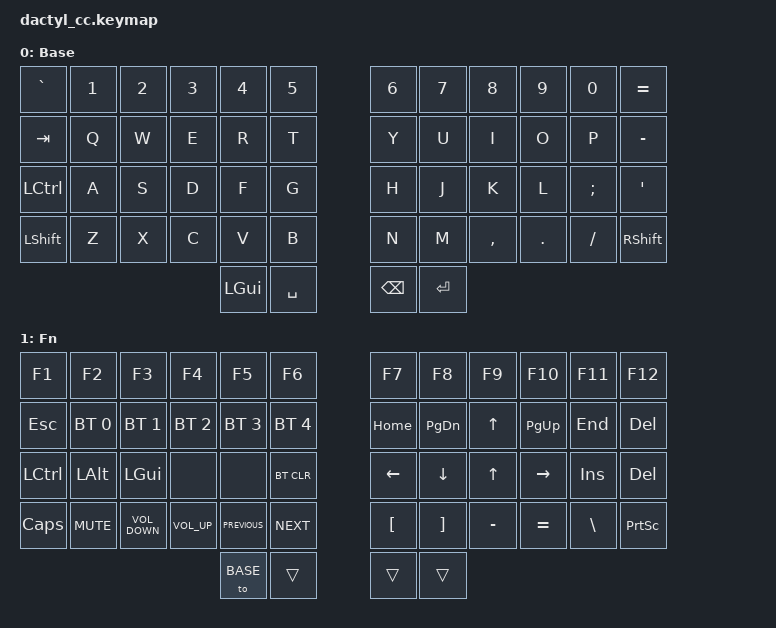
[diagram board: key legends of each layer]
#include <behaviors.dtsi>
#include <dt-bindings/zmk/bt.h>
#include <dt-bindings/zmk/keys.h>

#define BASE  0
#define LOWER 1

&kscan0 {
    debounce-press-ms = <30>;
    debounce-release-ms = <30>;
};

/ {
    keymap {
        compatible = "zmk,keymap";

        base {
            display-name = "Base";

            bindings = <
&kp GRAVE        &kp N1           &kp N2           &kp N3           &kp N4           &kp N5               &kp N6          &kp N7          &kp N8          &kp N9          &kp N0          &kp EQUAL
&kp TAB          &kp Q            &kp W            &kp E            &kp R            &kp T                &kp Y           &kp U           &kp I           &kp O           &kp P           &kp MINUS
&kp LCTRL        &kp A            &kp S            &kp D            &kp F            &kp G                &kp H           &kp J           &kp K           &kp L           &kp SEMICOLON   &kp SQT
&kp LSHIFT       &kp Z            &kp X            &kp C            &kp V            &kp B                &kp N           &kp M           &kp COMMA       &kp DOT         &kp FSLH        &kp RSHIFT
                                                                  &kp LGUI          &kp SPACE            &kp BACKSPACE   &kp ENTER
            >;
        };

        lower {
            display-name = "Fn";

            bindings = <
&kp F1           &kp F2           &kp F3           &kp F4           &kp F5           &kp F6               &kp F7          &kp F8          &kp F9          &kp F10         &kp F11         &kp F12
&kp ESCAPE       &bt BT_SEL 0     &bt BT_SEL 1     &bt BT_SEL 2     &bt BT_SEL 3     &bt BT_SEL 4         &kp HOME        &kp PAGE_DOWN   &kp UP          &kp PAGE_UP     &kp END         &kp DELETE
&kp LEFT_CONTROL &kp LEFT_ALT     &kp LEFT_GUI     &none            &none            &bt BT_CLR           &kp LEFT        &kp DOWN        &kp UP          &kp RIGHT       &kp INSERT      &kp DELETE
&kp CAPSLOCK     &kp C_MUTE       &kp C_VOLUME_DOWN &kp C_VOLUME_UP &kp C_PREVIOUS   &kp C_NEXT           &kp LBKT        &kp RBKT        &kp MINUS       &kp EQUAL       &kp BACKSLASH   &kp PRINTSCREEN
                                                                  &to BASE          &trans               &trans          &trans
            >;
        };
    };

    combos {
        compatible = "zmk,combos";

        layer_toggle {
            timeout-ms = <50>;
            key-positions = <49 50>;
            bindings = <&tog LOWER>;
            layers = <0>;
        };
    };
};
